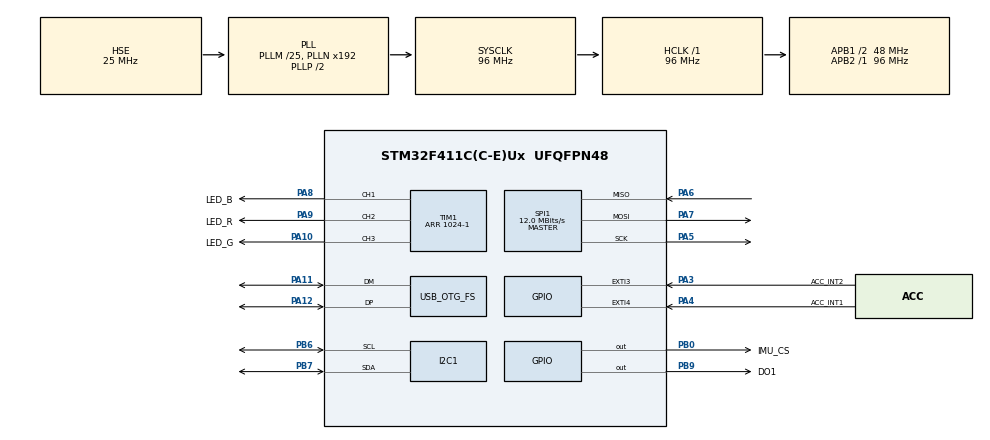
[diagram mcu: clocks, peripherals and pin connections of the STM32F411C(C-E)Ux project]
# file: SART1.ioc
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Dma.I2C1_TX.2.Direction=DMA_MEMORY_TO_PERIPH
Dma.I2C1_TX.2.FIFOMode=DMA_FIFOMODE_DISABLE
Dma.I2C1_TX.2.Instance=DMA1_Stream1
Dma.I2C1_TX.2.MemDataAlignment=DMA_MDATAALIGN_BYTE
Dma.I2C1_TX.2.MemInc=DMA_MINC_ENABLE
Dma.I2C1_TX.2.Mode=DMA_NORMAL
Dma.I2C1_TX.2.PeriphDataAlignment=DMA_PDATAALIGN_BYTE
Dma.I2C1_TX.2.PeriphInc=DMA_PINC_DISABLE
Dma.I2C1_TX.2.Priority=DMA_PRIORITY_MEDIUM
Dma.Request0=SPI1_RX
Dma.Request1=SPI1_TX
Dma.Request2=I2C1_TX
Dma.SPI1_RX.0.Direction=DMA_PERIPH_TO_MEMORY
Dma.SPI1_RX.0.FIFOMode=DMA_FIFOMODE_DISABLE
Dma.SPI1_RX.0.Instance=DMA2_Stream0
Dma.SPI1_RX.0.MemDataAlignment=DMA_MDATAALIGN_BYTE
Dma.SPI1_RX.0.MemInc=DMA_MINC_ENABLE
Dma.SPI1_RX.0.Mode=DMA_NORMAL
Dma.SPI1_RX.0.PeriphDataAlignment=DMA_PDATAALIGN_BYTE
Dma.SPI1_RX.0.PeriphInc=DMA_PINC_DISABLE
Dma.SPI1_RX.0.Priority=DMA_PRIORITY_VERY_HIGH
Dma.SPI1_TX.1.Direction=DMA_MEMORY_TO_PERIPH
Dma.SPI1_TX.1.FIFOMode=DMA_FIFOMODE_DISABLE
Dma.SPI1_TX.1.Instance=DMA2_Stream2
Dma.SPI1_TX.1.MemDataAlignment=DMA_MDATAALIGN_BYTE
Dma.SPI1_TX.1.MemInc=DMA_MINC_ENABLE
Dma.SPI1_TX.1.Mode=DMA_NORMAL
Dma.SPI1_TX.1.PeriphDataAlignment=DMA_PDATAALIGN_BYTE
Dma.SPI1_TX.1.PeriphInc=DMA_PINC_DISABLE
Dma.SPI1_TX.1.Priority=DMA_PRIORITY_VERY_HIGH
FREERTOS.BinarySemaphores01=spiBinarySem,Static,spiBinarySemControlBlock;usbBinarySem,Dynamic,NULL;fifoBinarySem,Static,fifoBinarySemControlBlock
FREERTOS.HEAP_NUMBER=3
FREERTOS.Mutexes01=SPI1Mutex,Dynamic,NULL
FREERTOS.Tasks01=MainTask,2,256,StartMainTask,Default,NULL,Dynamic,NULL,NULL;SignalElabTask,0,2048,StartSignalElabTask,Default,NULL,Dynamic,NULL,NULL;UsbTxTask,1,512,StartUsbTxTask,Default,NULL,Dynamic,NULL,NULL;UsbRxTask,-3,256,StartUsbRx,Default,NULL,Dynamic,NULL,NULL;ImuTask,3,128,StartImuTask,Default,NULL,Dynamic,NULL,NULL
FREERTOS.Timers01=BlinkTimer,BlinkTimerCallback,osTimerPeriodic,Default,NULL,Dynamic,NULL;DOTimer,DOTimerCallback,osTimerOnce,Default,NULL,Dynamic,NULL;SPIReadTimoutTimer,SPIReadTimoutTimerCallback,osTimerOnce,Default,NULL,Dynamic,NULL
FREERTOS.configENABLE_FPU=1
FREERTOS.configGENERATE_RUN_TIME_STATS=1
FREERTOS.configUSE_NEWLIB_REENTRANT=1
FREERTOS.configUSE_TIMERS=1
I2C1.I2C_Mode=I2C_Fast
Mcu.Family=STM32F4
Mcu.Name=STM32F411C(C-E)Ux
Mcu.Package=UFQFPN48
NVIC.DMA1_Stream1_IRQn=true\:5\:0\:false\:false\:true\:true\:false\:true\:true
NVIC.DMA2_Stream0_IRQn=true\:5\:0\:false\:false\:true\:true\:false\:true\:true
NVIC.DMA2_Stream2_IRQn=true\:5\:0\:false\:false\:true\:true\:false\:true\:true
NVIC.EXTI3_IRQn=true\:5\:0\:false\:false\:true\:true\:true\:true\:true
NVIC.EXTI4_IRQn=true\:5\:0\:false\:false\:true\:true\:true\:true\:true
NVIC.I2C1_ER_IRQn=true\:5\:0\:false\:false\:true\:true\:true\:true\:true
NVIC.I2C1_EV_IRQn=true\:5\:0\:false\:false\:true\:true\:true\:true\:true
NVIC.OTG_FS_IRQn=true\:5\:0\:false\:false\:true\:true\:false\:true\:true
NVIC.PriorityGroup=NVIC_PRIORITYGROUP_4
NVIC.SPI1_IRQn=true\:5\:0\:false\:false\:true\:true\:true\:true\:true
NVIC.TIM1_BRK_TIM9_IRQn=true\:5\:0\:false\:false\:true\:true\:true\:true\:true
NVIC.TIM1_TRG_COM_TIM11_IRQn=true\:5\:0\:false\:false\:true\:true\:true\:true\:true
NVIC.TIM1_UP_TIM10_IRQn=true\:15\:0\:false\:false\:true\:false\:false\:true\:true
NVIC.TimeBase=TIM1_UP_TIM10_IRQn
NVIC.TimeBaseIP=TIM10
PA10.GPIO_Label=LED_G
PA10.Signal=S_TIM1_CH3
PA11.Mode=Device_Only
PA11.Signal=USB_OTG_FS_DM
PA12.Mode=Device_Only
PA12.Signal=USB_OTG_FS_DP
PA13.Mode=Trace_Asynchronous_SW
PA13.Signal=SYS_JTMS-SWDIO
PA14.Mode=Trace_Asynchronous_SW
PA14.Signal=SYS_JTCK-SWCLK
PA3.GPIO_Label=ACC_INT2
PA3.GPIO_ModeDefaultEXTI=GPIO_MODE_IT_RISING
PA3.GPIO_PuPd=GPIO_NOPULL
PA3.Signal=GPXTI3
PA4.GPIO_Label=ACC_INT1
PA4.GPIO_PuPd=GPIO_NOPULL
PA4.Signal=GPXTI4
PA5.Mode=Full_Duplex_Master
PA5.Signal=SPI1_SCK
PA6.Mode=Full_Duplex_Master
PA6.Signal=SPI1_MISO
PA7.Mode=Full_Duplex_Master
PA7.Signal=SPI1_MOSI
PA8.GPIO_Label=LED_B
PA8.Signal=S_TIM1_CH1
PA9.GPIO_Label=LED_R
PA9.Signal=S_TIM1_CH2
PB0.GPIO_Label=IMU_CS
PB0.GPIO_PuPd=GPIO_PULLUP
PB0.GPIO_Speed=GPIO_SPEED_FREQ_VERY_HIGH
PB0.Signal=GPIO_Output
PB3.Mode=Trace_Asynchronous_SW
PB3.Signal=SYS_JTDO-SWO
PB6.GPIO_Pu=GPIO_PULLUP
PB6.Mode=I2C
PB6.Signal=I2C1_SCL
PB7.GPIO_Pu=GPIO_PULLUP
PB7.Mode=I2C
PB7.Signal=I2C1_SDA
PB9.GPIO_Label=DO1
PB9.GPIO_PuPd=GPIO_PULLDOWN
PB9.GPIO_Speed=GPIO_SPEED_FREQ_VERY_HIGH
PB9.Signal=GPIO_Output
PH0\ -\ OSC_IN.Mode=HSE-External-Oscillator
PH0\ -\ OSC_IN.Signal=RCC_OSC_IN
PH1\ -\ OSC_OUT.Mode=HSE-External-Oscillator
PH1\ -\ OSC_OUT.Signal=RCC_OSC_OUT
ProjectManager.HeapSize=0x800
ProjectManager.StackSize=0x800
ProjectManager.TargetToolchain=STM32CubeIDE
RCC.48MHZClocksFreq_Value=48000000
RCC.AHBFreq_Value=96000000
RCC.APB1CLKDivider=RCC_HCLK_DIV2
RCC.APB1Freq_Value=48000000
RCC.APB1TimFreq_Value=96000000
RCC.APB2Freq_Value=96000000
RCC.APB2TimFreq_Value=96000000
RCC.CortexFreq_Value=96000000
RCC.HCLKFreq_Value=96000000
RCC.HSE_VALUE=25000000
RCC.HSI_VALUE=16000000
RCC.LSE_VALUE=32768
RCC.PLLM=25
RCC.SYSCLKFreq_VALUE=96000000
RCC.SYSCLKSource=RCC_SYSCLKSOURCE_PLLCLK
RCC.VCOOutputFreq_Value=192000000
SH.S_TIM1_CH1.0=TIM1_CH1,PWM Generation1 CH1
SH.S_TIM1_CH2.0=TIM1_CH2,PWM Generation2 CH2
SH.S_TIM1_CH3.0=TIM1_CH3,PWM Generation3 CH3
SPI1.BaudRatePrescaler=SPI_BAUDRATEPRESCALER_8
SPI1.CalculateBaudRate=12.0 MBits/s
SPI1.DataSize=SPI_DATASIZE_8BIT
SPI1.Direction=SPI_DIRECTION_2LINES
SPI1.FirstBit=SPI_FIRSTBIT_MSB
SPI1.Mode=SPI_MODE_MASTER
SPI1.VirtualType=VM_MASTER
STMicroelectronics.X-CUBE-ALGOBUILD.1.2.1.LibraryCcDSPOoLibraryJjDSPOoLibrary=true
TIM1.AutoReloadPreload=TIM_AUTORELOAD_PRELOAD_ENABLE
TIM1.Channel-PWM\ Generation1\ CH1=TIM_CHANNEL_1
TIM1.Channel-PWM\ Generation2\ CH2=TIM_CHANNEL_2
TIM1.Channel-PWM\ Generation3\ CH3=TIM_CHANNEL_3
TIM1.Period=1024-1
TIM2.AutoReloadPreload=TIM_AUTORELOAD_PRELOAD_ENABLE
TIM2.Prescaler=9600
TIM3.AutoReloadPreload=TIM_AUTORELOAD_PRELOAD_ENABLE
TIM3.Period=9600
TIM3.Prescaler=10000
TIM5.Prescaler=96-1
USB_DEVICE.CLASS_NAME_FS=CDC
USB_DEVICE.VirtualMode=Cdc
USB_DEVICE.VirtualModeFS=Cdc_FS
USB_OTG_FS.VirtualMode=Device_Only
VP_FREERTOS_VS_CMSIS_V1.Mode=CMSIS_V1
VP_RTC_VS_RTC_Activate.Mode=RTC_Enabled
VP_STMicroelectronics.X-CUBE-ALGOBUILD_VS_DSPOoLibraryJjLibrary_1.2.1_1.2.1.Mode=DSPOoLibraryJjLibrary
VP_SYS_VS_tim10.Mode=TIM10
VP_TIM1_VS_ClockSourceINT.Mode=Internal
VP_TIM2_VS_ClockSourceINT.Mode=Internal
VP_TIM3_VS_ClockSourceINT.Mode=Internal
VP_TIM5_VS_ClockSourceINT.Mode=Internal
VP_USB_DEVICE_VS_USB_DEVICE_CDC_FS.Mode=CDC_FS
board=custom

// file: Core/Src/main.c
/* USER CODE BEGIN Header */
/**
  ******************************************************************************
  * @file           : main.c
  * @brief          : Main program body
  ******************************************************************************
  * @attention
  *
  * Copyright (c) 2022 STMicroelectronics.
  * All rights reserved.
  *
  * This software is licensed under terms that can be found in the LICENSE file
  * in the root directory of this software component.
  * If no LICENSE file comes with this software, it is provided AS-IS.
  *
  ******************************************************************************
  */
/* USER CODE END Header */
#include "main.h"
#include "cmsis_os.h"
#include "usb_device.h"

/* USER CODE BEGIN Includes */
#include "arm_math.h"
#include "math.h"
#include "string.h"
#include <stdbool.h>
#include "stream_buffer.h"
#include "common.h"
#include "DAC7571.h"
#include "IIM42652.h"
#include "RGB.h"
#include "RingBuffer.h"
#include "USBCommProtocol.h"
/* USER CODE END Includes */

 I2C_HandleTypeDef hi2c1;
DMA_HandleTypeDef hdma_i2c1_tx;

RTC_HandleTypeDef hrtc;

SPI_HandleTypeDef hspi1;
DMA_HandleTypeDef hdma_spi1_rx;
DMA_HandleTypeDef hdma_spi1_tx;

TIM_HandleTypeDef htim1;
TIM_HandleTypeDef htim2;
TIM_HandleTypeDef htim3;
TIM_HandleTypeDef htim5;

osThreadId MainTaskHandle;
osThreadId SignalElabTaskHandle;
osThreadId UsbTxTaskHandle;
osThreadId UsbRxTaskHandle;
osThreadId ImuTaskHandle;
osTimerId BlinkTimerHandle;
osTimerId DOTimerHandle;
osTimerId SPIReadTimoutTimerHandle;
osMutexId SPI1MutexHandle;
osSemaphoreId spiBinarySemHandle;
osStaticSemaphoreDef_t spiBinarySemControlBlock;
osSemaphoreId usbBinarySemHandle;
osSemaphoreId fifoBinarySemHandle;
osStaticSemaphoreDef_t fifoBinarySemControlBlock;
/* USER CODE BEGIN PV */
AC1_Config_t userConfig;

static StaticQueue_t usb_RX_QueueStruct;
static uint8_t usb_RX_QueueStorage[ APP_RX_DATA_SIZE * sizeof(uint8_t) ];
QueueHandle_t usb_RX_Queue;

static StaticQueue_t usb_TX_QueueStruct;
static uint8_t usb_TX_QueueStorage[ APP_TX_DATA_SIZE * sizeof(uint8_t) ];
QueueHandle_t usb_TX_Queue;

static StaticQueue_t IMUDataOutputQueueStruct;
static uint8_t IMUDataOutputQueueStorage[IMU_OUTPUT_DATA_QUEUE_SIZE * sizeof(IMU_Data_Buf_t)];
QueueHandle_t IMUDataOutputQueue;

char logBuf[APP_TX_DATA_SIZE];

#define SAMPLE 128U
#define FFT_SIZE SAMPLE/2

uint16_t freq = 1;
float32_t SignalTestBuffer[FFT_SIZE];
float32_t FFTOutBuffer[FFT_SIZE];
float32_t FFTMagOutBuffer[FFT_SIZE];
arm_rfft_fast_instance_f32 S;
arm_status status;

/* USER CODE END PV */

void SystemClock_Config(void);
static void MX_GPIO_Init(void);
static void MX_DMA_Init(void);
static void MX_SPI1_Init(void);
static void MX_I2C1_Init(void);
static void MX_TIM1_Init(void);
static void MX_TIM3_Init(void);
static void MX_TIM5_Init(void);
static void MX_RTC_Init(void);
static void MX_TIM2_Init(void);
void StartMainTask(void const * argument);
void StartSignalElabTask(void const * argument);
void StartUsbTxTask(void const * argument);
void StartUsbRx(void const * argument);
void StartImuTask(void const * argument);
void BlinkTimerCallback(void const * argument);
void DOTimerCallback(void const * argument);
void SPIReadTimoutTimerCallback(void const * argument);

/* USER CODE BEGIN PFP */
void initAll(void)
{
	#ifdef USB_DEBUG
  	  HAL_Delay(2000);
	#endif

  	osTimerStart(BlinkTimerHandle, BLINK_DELAY_MS/portTICK_PERIOD_MS);
  	arm_rfft_fast_init_f32(&S, IMU_FFT_SIZE);

	//--------------------------------------
	// -------- INITIALIZATIONS ------------
	//--------------------------------------
	//USB
  	OMDProtocolInit(&OMDCommProtocol);
	#ifdef USB_DEBUG
	  sprintf(logBuf, "\r\nStarting initialization of sensor and output devices...");
	  CDC_Transmit_FS((uint8_t *) logBuf, strlen(logBuf));
	#endif

	//IMU
	if (IIM42652_InitBusGuard(&IMU, spiBinarySemHandle) != HAL_OK)
	{
		AC1_StatusWord.IMUInit = false;
		AC1_StatusWord.IMUFault = true;
	}
	if (IIM42652_Init(&IMU, &hspi1, IMU_CS_GPIO_Port, IMU_CS_Pin, &userConfig) == HAL_OK)
	{
	  AC1_StatusWord.IMUInit = true; //IMU initialized
	  sprintf(logBuf, "\r\nIMU initialized...");
	  RGB_SetActColor(&RGB, RGB.rgbVIOLET, ENABLE);
	}
	else
	{
	  sprintf(logBuf, "\r\nIMU initialization failed");
	}
	#ifdef USB_DEBUG
		CDC_Transmit_FS((uint8_t *) logBuf, strlen(logBuf));
		HAL_Delay(500);
	#endif

	//DAC
	DAC7571_Init(&DAC, &hi2c1, DAC_ALIM_VOLTAGE);
	DAC7571_SetOutEnabling(&DAC, 1);
	DAC7571_SetOutVoltage(&DAC, DAC_ALIM_VOLTAGE);
	if (DAC7571_WriteDMA(&DAC) == 0)
	{
	  AC1_StatusWord.DACInit = true; //DAC initialized
	  sprintf(logBuf, "\r\nDAC initialized...");
	  RGB_SetActColor(&RGB, RGB.rgbYELLOW, ENABLE);
	}
	else
	{
	  sprintf(logBuf, "\r\nDAC initialization failed");
	}

	#ifdef USB_DEBUG
		CDC_Transmit_FS((uint8_t *) logBuf, strlen(logBuf));
		HAL_Delay(500);
	#endif

	if (AC1_StatusWord.IMUInit == 1 && AC1_StatusWord.DACInit == 1)
	{
		//All devices have been initialized
		RGB_SetActColor(&RGB, RGB.rgbCYAN, ENABLE);
		HAL_GPIO_WritePin(DO1_GPIO_Port, DO1_Pin, GPIO_PIN_SET);
		AC1_StatusWord.Booted = 1;
		sprintf(logBuf, "\r\nAC1 Initializations completed!\r\n Starting FreeRTOS...");
		#ifdef USB_DEBUG
			CDC_Transmit_FS((uint8_t *) logBuf, strlen(logBuf));
		#endif
	}
	else
	{
		//Device's initialization errors occurred. AC1 will be restarted.
		RGB_SetActColor(&RGB, RGB.rgbRED, ENABLE);
		HAL_GPIO_WritePin(DO1_GPIO_Port, DO1_Pin, GPIO_PIN_RESET);
		sprintf(logBuf, "\r\nAC1 Initializations procedure failed. Restarting...");
		CDC_Transmit_FS((uint8_t *) logBuf, strlen(logBuf));
		HAL_Delay(2000);
		__NVIC_SystemReset();
	}

	/* Start signals analysis */
	AC1_StatusWord.IMUAnalysisON = 1;

	/* Disable USB data output */
	IMU.TelemetryON = 0;
}
/* USER CODE END PFP */

int main(void)
{
  /* USER CODE BEGIN 1 */
	_LOAD_AC1_SETTINGS(&userConfig); //TODO: work only at the top of application: why?!?!
  /* USER CODE END 1 */

  /* MCU Configuration--------------------------------------------------------*/

  /* Reset of all peripherals, Initializes the Flash interface and the Systick. */
  HAL_Init();

  /* Configure the system clock */
  SystemClock_Config();

  /* Initialize all configured peripherals */
  MX_GPIO_Init();
  MX_DMA_Init();
  MX_SPI1_Init();
  MX_I2C1_Init();
  MX_TIM1_Init();
  MX_TIM3_Init();
  MX_TIM5_Init();
  MX_RTC_Init();
  MX_TIM2_Init();
  /* USER CODE BEGIN 2 */
  AC1_StatusWord.Power = true; //MCU Powered

  //Power LED ON
  RGB_Init(&RGB, &htim1);
  RGB_SetActColor(&RGB, RGB.rgbGREEN, ENABLE);
  HAL_Delay(500);

  //Start used timer
  HAL_TIM_Base_Start_IT(&htim2);
  HAL_TIM_Base_Start_IT(&htim3);
  HAL_TIM_Base_Start_IT(&htim5);

  /* USER CODE END 2 */

  /* Create the mutex(es) */
  /* definition and creation of SPI1Mutex */
  osMutexDef(SPI1Mutex);
  SPI1MutexHandle = osMutexCreate(osMutex(SPI1Mutex));

  /* Create the semaphores(s) */
  /* definition and creation of spiBinarySem */
  osSemaphoreStaticDef(spiBinarySem, &spiBinarySemControlBlock);
  spiBinarySemHandle = osSemaphoreCreate(osSemaphore(spiBinarySem), 1);

  /* definition and creation of usbBinarySem */
  osSemaphoreDef(usbBinarySem);
  usbBinarySemHandle = osSemaphoreCreate(osSemaphore(usbBinarySem), 1);

  /* definition and creation of fifoBinarySem */
  osSemaphoreStaticDef(fifoBinarySem, &fifoBinarySemControlBlock);
  fifoBinarySemHandle = osSemaphoreCreate(osSemaphore(fifoBinarySem), 1);

  /* Create the timer(s) */
  /* definition and creation of BlinkTimer */
  osTimerDef(BlinkTimer, BlinkTimerCallback);
  BlinkTimerHandle = osTimerCreate(osTimer(BlinkTimer), osTimerPeriodic, NULL);

  /* definition and creation of DOTimer */
  osTimerDef(DOTimer, DOTimerCallback);
  DOTimerHandle = osTimerCreate(osTimer(DOTimer), osTimerOnce, NULL);

  /* definition and creation of SPIReadTimoutTimer */
  osTimerDef(SPIReadTimoutTimer, SPIReadTimoutTimerCallback);
  SPIReadTimoutTimerHandle = osTimerCreate(osTimer(SPIReadTimoutTimer), osTimerOnce, NULL);

  /* USER CODE BEGIN RTOS_QUEUES */
  /* add queues, ... */
  usb_RX_Queue = xQueueCreateStatic(APP_RX_DATA_SIZE, sizeof(uint8_t), usb_RX_QueueStorage, &usb_RX_QueueStruct);
  usb_TX_Queue = xQueueCreateStatic(APP_TX_DATA_SIZE, sizeof(uint8_t), usb_TX_QueueStorage, &usb_TX_QueueStruct);
  IMUDataOutputQueue = xQueueCreateStatic(IMU_OUTPUT_DATA_QUEUE_SIZE, sizeof(IMU_Data_Buf_t), IMUDataOutputQueueStorage, &IMUDataOutputQueueStruct);
  /* USER CODE END RTOS_QUEUES */

  /* Create the thread(s) */
  /* definition and creation of MainTask */
  osThreadDef(MainTask, StartMainTask, osPriorityHigh, 0, 256);
  MainTaskHandle = osThreadCreate(osThread(MainTask), NULL);

  /* definition and creation of SignalElabTask */
  osThreadDef(SignalElabTask, StartSignalElabTask, osPriorityNormal, 0, 2048);
  SignalElabTaskHandle = osThreadCreate(osThread(SignalElabTask), NULL);

  /* definition and creation of UsbTxTask */
  osThreadDef(UsbTxTask, StartUsbTxTask, osPriorityAboveNormal, 0, 512);
  UsbTxTaskHandle = osThreadCreate(osThread(UsbTxTask), NULL);

  /* definition and creation of UsbRxTask */
  osThreadDef(UsbRxTask, StartUsbRx, osPriorityIdle, 0, 256);
  UsbRxTaskHandle = osThreadCreate(osThread(UsbRxTask), NULL);

  /* definition and creation of ImuTask */
  osThreadDef(ImuTask, StartImuTask, osPriorityRealtime, 0, 128);
  ImuTaskHandle = osThreadCreate(osThread(ImuTask), NULL);

  /* Start scheduler */
  osKernelStart();

  /* We should never get here as control is now taken by the scheduler */
  /* Infinite loop */
  while (1)
  {

  }
}

void SystemClock_Config(void)
{
  RCC_OscInitTypeDef RCC_OscInitStruct = {0};
  RCC_ClkInitTypeDef RCC_ClkInitStruct = {0};

  /** Configure the main internal regulator output voltage
  */
  __HAL_RCC_PWR_CLK_ENABLE();
  __HAL_PWR_VOLTAGESCALING_CONFIG(PWR_REGULATOR_VOLTAGE_SCALE1);

  /** Initializes the RCC Oscillators according to the specified parameters
  * in the RCC_OscInitTypeDef structure.
  */
  RCC_OscInitStruct.OscillatorType = RCC_OSCILLATORTYPE_LSI|RCC_OSCILLATORTYPE_HSE;
  RCC_OscInitStruct.HSEState = RCC_HSE_ON;
  RCC_OscInitStruct.LSIState = RCC_LSI_ON;
  RCC_OscInitStruct.PLL.PLLState = RCC_PLL_ON;
  RCC_OscInitStruct.PLL.PLLSource = RCC_PLLSOURCE_HSE;
  RCC_OscInitStruct.PLL.PLLM = 25;
  RCC_OscInitStruct.PLL.PLLN = 192;
  RCC_OscInitStruct.PLL.PLLP = RCC_PLLP_DIV2;
  RCC_OscInitStruct.PLL.PLLQ = 4;
  if (HAL_RCC_OscConfig(&RCC_OscInitStruct) != HAL_OK)
  {
    Error_Handler();
  }

  /** Initializes the CPU, AHB and APB buses clocks
  */
  RCC_ClkInitStruct.ClockType = RCC_CLOCKTYPE_HCLK|RCC_CLOCKTYPE_SYSCLK
                              |RCC_CLOCKTYPE_PCLK1|RCC_CLOCKTYPE_PCLK2;
  RCC_ClkInitStruct.SYSCLKSource = RCC_SYSCLKSOURCE_PLLCLK;
  RCC_ClkInitStruct.AHBCLKDivider = RCC_SYSCLK_DIV1;
  RCC_ClkInitStruct.APB1CLKDivider = RCC_HCLK_DIV2;
  RCC_ClkInitStruct.APB2CLKDivider = RCC_HCLK_DIV1;

  if (HAL_RCC_ClockConfig(&RCC_ClkInitStruct, FLASH_LATENCY_3) != HAL_OK)
  {
    Error_Handler();
  }
}

static void MX_I2C1_Init(void)
{

  hi2c1.Instance = I2C1;
  hi2c1.Init.ClockSpeed = 400000;
  hi2c1.Init.DutyCycle = I2C_DUTYCYCLE_2;
  hi2c1.Init.OwnAddress1 = 0;
  hi2c1.Init.AddressingMode = I2C_ADDRESSINGMODE_7BIT;
  hi2c1.Init.DualAddressMode = I2C_DUALADDRESS_DISABLE;
  hi2c1.Init.OwnAddress2 = 0;
  hi2c1.Init.GeneralCallMode = I2C_GENERALCALL_DISABLE;
  hi2c1.Init.NoStretchMode = I2C_NOSTRETCH_DISABLE;
  if (HAL_I2C_Init(&hi2c1) != HAL_OK)
  {
    Error_Handler();
  }

}

static void MX_RTC_Init(void)
{

  /** Initialize RTC Only
  */
  hrtc.Instance = RTC;
  hrtc.Init.HourFormat = RTC_HOURFORMAT_24;
  hrtc.Init.AsynchPrediv = 127;
  hrtc.Init.SynchPrediv = 255;
  hrtc.Init.OutPut = RTC_OUTPUT_DISABLE;
  hrtc.Init.OutPutPolarity = RTC_OUTPUT_POLARITY_HIGH;
  hrtc.Init.OutPutType = RTC_OUTPUT_TYPE_OPENDRAIN;
  if (HAL_RTC_Init(&hrtc) != HAL_OK)
  {
    Error_Handler();
  }

}

static void MX_SPI1_Init(void)
{

  /* SPI1 parameter configuration*/
  hspi1.Instance = SPI1;
  hspi1.Init.Mode = SPI_MODE_MASTER;
  hspi1.Init.Direction = SPI_DIRECTION_2LINES;
  hspi1.Init.DataSize = SPI_DATASIZE_8BIT;
  hspi1.Init.CLKPolarity = SPI_POLARITY_LOW;
  hspi1.Init.CLKPhase = SPI_PHASE_1EDGE;
  hspi1.Init.NSS = SPI_NSS_SOFT;
  hspi1.Init.BaudRatePrescaler = SPI_BAUDRATEPRESCALER_8;
  hspi1.Init.FirstBit = SPI_FIRSTBIT_MSB;
  hspi1.Init.TIMode = SPI_TIMODE_DISABLE;
  hspi1.Init.CRCCalculation = SPI_CRCCALCULATION_DISABLE;
  hspi1.Init.CRCPolynomial = 10;
  if (HAL_SPI_Init(&hspi1) != HAL_OK)
  {
    Error_Handler();
  }

}

static void MX_TIM1_Init(void)
{

  TIM_ClockConfigTypeDef sClockSourceConfig = {0};
  TIM_MasterConfigTypeDef sMasterConfig = {0};
  TIM_OC_InitTypeDef sConfigOC = {0};
  TIM_BreakDeadTimeConfigTypeDef sBreakDeadTimeConfig = {0};

  htim1.Instance = TIM1;
  htim1.Init.Prescaler = 0;
  htim1.Init.CounterMode = TIM_COUNTERMODE_UP;
  htim1.Init.Period = 1024-1;
  htim1.Init.ClockDivision = TIM_CLOCKDIVISION_DIV1;
  htim1.Init.RepetitionCounter = 0;
  htim1.Init.AutoReloadPreload = TIM_AUTORELOAD_PRELOAD_ENABLE;
  if (HAL_TIM_Base_Init(&htim1) != HAL_OK)
  {
    Error_Handler();
  }
  sClockSourceConfig.ClockSource = TIM_CLOCKSOURCE_INTERNAL;
  if (HAL_TIM_ConfigClockSource(&htim1, &sClockSourceConfig) != HAL_OK)
  {
    Error_Handler();
  }
  if (HAL_TIM_PWM_Init(&htim1) != HAL_OK)
  {
    Error_Handler();
  }
  sMasterConfig.MasterOutputTrigger = TIM_TRGO_RESET;
  sMasterConfig.MasterSlaveMode = TIM_MASTERSLAVEMODE_DISABLE;
  if (HAL_TIMEx_MasterConfigSynchronization(&htim1, &sMasterConfig) != HAL_OK)
  {
    Error_Handler();
  }
  sConfigOC.OCMode = TIM_OCMODE_PWM1;
  sConfigOC.Pulse = 0;
  sConfigOC.OCPolarity = TIM_OCPOLARITY_HIGH;
  sConfigOC.OCNPolarity = TIM_OCNPOLARITY_HIGH;
  sConfigOC.OCFastMode = TIM_OCFAST_DISABLE;
  sConfigOC.OCIdleState = TIM_OCIDLESTATE_RESET;
  sConfigOC.OCNIdleState = TIM_OCNIDLESTATE_RESET;
  if (HAL_TIM_PWM_ConfigChannel(&htim1, &sConfigOC, TIM_CHANNEL_1) != HAL_OK)
  {
    Error_Handler();
  }
  if (HAL_TIM_PWM_ConfigChannel(&htim1, &sConfigOC, TIM_CHANNEL_2) != HAL_OK)
  {
    Error_Handler();
  }
  if (HAL_TIM_PWM_ConfigChannel(&htim1, &sConfigOC, TIM_CHANNEL_3) != HAL_OK)
  {
    Error_Handler();
  }
  sBreakDeadTimeConfig.OffStateRunMode = TIM_OSSR_DISABLE;
  sBreakDeadTimeConfig.OffStateIDLEMode = TIM_OSSI_DISABLE;
  sBreakDeadTimeConfig.LockLevel = TIM_LOCKLEVEL_OFF;
  sBreakDeadTimeConfig.DeadTime = 0;
  sBreakDeadTimeConfig.BreakState = TIM_BREAK_DISABLE;
  sBreakDeadTimeConfig.BreakPolarity = TIM_BREAKPOLARITY_HIGH;
  sBreakDeadTimeConfig.AutomaticOutput = TIM_AUTOMATICOUTPUT_DISABLE;
  if (HAL_TIMEx_ConfigBreakDeadTime(&htim1, &sBreakDeadTimeConfig) != HAL_OK)
  {
    Error_Handler();
  }
  HAL_TIM_MspPostInit(&htim1);

}

static void MX_TIM2_Init(void)
{

  TIM_ClockConfigTypeDef sClockSourceConfig = {0};
  TIM_MasterConfigTypeDef sMasterConfig = {0};

  htim2.Instance = TIM2;
  htim2.Init.Prescaler = 9600;
  htim2.Init.CounterMode = TIM_COUNTERMODE_UP;
  htim2.Init.Period = 4294967295;
  htim2.Init.ClockDivision = TIM_CLOCKDIVISION_DIV1;
  htim2.Init.AutoReloadPreload = TIM_AUTORELOAD_PRELOAD_ENABLE;
  if (HAL_TIM_Base_Init(&htim2) != HAL_OK)
  {
    Error_Handler();
  }
  sClockSourceConfig.ClockSource = TIM_CLOCKSOURCE_INTERNAL;
  if (HAL_TIM_ConfigClockSource(&htim2, &sClockSourceConfig) != HAL_OK)
  {
    Error_Handler();
  }
  sMasterConfig.MasterOutputTrigger = TIM_TRGO_RESET;
  sMasterConfig.MasterSlaveMode = TIM_MASTERSLAVEMODE_DISABLE;
  if (HAL_TIMEx_MasterConfigSynchronization(&htim2, &sMasterConfig) != HAL_OK)
  {
    Error_Handler();
  }

}

static void MX_TIM3_Init(void)
{

  TIM_ClockConfigTypeDef sClockSourceConfig = {0};
  TIM_MasterConfigTypeDef sMasterConfig = {0};

  htim3.Instance = TIM3;
  htim3.Init.Prescaler = 10000;
  htim3.Init.CounterMode = TIM_COUNTERMODE_UP;
  htim3.Init.Period = 9600;
  htim3.Init.ClockDivision = TIM_CLOCKDIVISION_DIV1;
  htim3.Init.AutoReloadPreload = TIM_AUTORELOAD_PRELOAD_ENABLE;
  if (HAL_TIM_Base_Init(&htim3) != HAL_OK)
  {
    Error_Handler();
  }
  sClockSourceConfig.ClockSource = TIM_CLOCKSOURCE_INTERNAL;
  if (HAL_TIM_ConfigClockSource(&htim3, &sClockSourceConfig) != HAL_OK)
  {
    Error_Handler();
  }
  sMasterConfig.MasterOutputTrigger = TIM_TRGO_RESET;
  sMasterConfig.MasterSlaveMode = TIM_MASTERSLAVEMODE_DISABLE;
  if (HAL_TIMEx_MasterConfigSynchronization(&htim3, &sMasterConfig) != HAL_OK)
  {
    Error_Handler();
  }

}

static void MX_TIM5_Init(void)
{

  TIM_ClockConfigTypeDef sClockSourceConfig = {0};
  TIM_MasterConfigTypeDef sMasterConfig = {0};

  htim5.Instance = TIM5;
  htim5.Init.Prescaler = 96-1;
  htim5.Init.CounterMode = TIM_COUNTERMODE_UP;
  htim5.Init.Period = 4294967295;
  htim5.Init.ClockDivision = TIM_CLOCKDIVISION_DIV1;
  htim5.Init.AutoReloadPreload = TIM_AUTORELOAD_PRELOAD_DISABLE;
  if (HAL_TIM_Base_Init(&htim5) != HAL_OK)
  {
    Error_Handler();
  }
  sClockSourceConfig.ClockSource = TIM_CLOCKSOURCE_INTERNAL;
  if (HAL_TIM_ConfigClockSource(&htim5, &sClockSourceConfig) != HAL_OK)
  {
    Error_Handler();
  }
  sMasterConfig.MasterOutputTrigger = TIM_TRGO_RESET;
  sMasterConfig.MasterSlaveMode = TIM_MASTERSLAVEMODE_DISABLE;
  if (HAL_TIMEx_MasterConfigSynchronization(&htim5, &sMasterConfig) != HAL_OK)
  {
    Error_Handler();
  }

}

static void MX_DMA_Init(void)
{

  /* DMA controller clock enable */
  __HAL_RCC_DMA2_CLK_ENABLE();
  __HAL_RCC_DMA1_CLK_ENABLE();

  /* DMA interrupt init */
  /* DMA1_Stream1_IRQn interrupt configuration */
  HAL_NVIC_SetPriority(DMA1_Stream1_IRQn, 5, 0);
  HAL_NVIC_EnableIRQ(DMA1_Stream1_IRQn);
  /* DMA2_Stream0_IRQn interrupt configuration */
  HAL_NVIC_SetPriority(DMA2_Stream0_IRQn, 5, 0);
  HAL_NVIC_EnableIRQ(DMA2_Stream0_IRQn);
  /* DMA2_Stream2_IRQn interrupt configuration */
  HAL_NVIC_SetPriority(DMA2_Stream2_IRQn, 5, 0);
  HAL_NVIC_EnableIRQ(DMA2_Stream2_IRQn);

}

static void MX_GPIO_Init(void)
{
  GPIO_InitTypeDef GPIO_InitStruct = {0};

  /* GPIO Ports Clock Enable */
  __HAL_RCC_GPIOH_CLK_ENABLE();
  __HAL_RCC_GPIOA_CLK_ENABLE();
  __HAL_RCC_GPIOB_CLK_ENABLE();

  /*Configure GPIO pin Output Level */
  HAL_GPIO_WritePin(GPIOB, IMU_CS_Pin|DO1_Pin, GPIO_PIN_RESET);

  /*Configure GPIO pins : ACC_INT2_Pin ACC_INT1_Pin */
  GPIO_InitStruct.Pin = ACC_INT2_Pin|ACC_INT1_Pin;
  GPIO_InitStruct.Mode = GPIO_MODE_IT_RISING;
  GPIO_InitStruct.Pull = GPIO_NOPULL;
  HAL_GPIO_Init(GPIOA, &GPIO_InitStruct);

  /*Configure GPIO pin : IMU_CS_Pin */
  GPIO_InitStruct.Pin = IMU_CS_Pin;
  GPIO_InitStruct.Mode = GPIO_MODE_OUTPUT_PP;
  GPIO_InitStruct.Pull = GPIO_PULLUP;
  GPIO_InitStruct.Speed = GPIO_SPEED_FREQ_VERY_HIGH;
  HAL_GPIO_Init(IMU_CS_GPIO_Port, &GPIO_InitStruct);

  /*Configure GPIO pin : DO1_Pin */
  GPIO_InitStruct.Pin = DO1_Pin;
  GPIO_InitStruct.Mode = GPIO_MODE_OUTPUT_PP;
  GPIO_InitStruct.Pull = GPIO_PULLDOWN;
  GPIO_InitStruct.Speed = GPIO_SPEED_FREQ_VERY_HIGH;
  HAL_GPIO_Init(DO1_GPIO_Port, &GPIO_InitStruct);

  /* EXTI interrupt init*/
  HAL_NVIC_SetPriority(EXTI3_IRQn, 5, 0);
  HAL_NVIC_EnableIRQ(EXTI3_IRQn);

  HAL_NVIC_SetPriority(EXTI4_IRQn, 5, 0);
  HAL_NVIC_EnableIRQ(EXTI4_IRQn);

}

/* USER CODE BEGIN 4 */
unsigned long getRunTimeCounterValue(void)
{
	return TIM2->CNT;
}

void HAL_SPI_TxRxCpltCallback(SPI_HandleTypeDef *hspi)
{
	BaseType_t xHigherPriorityTaskWoken = pdFALSE;

	if (hspi->Instance == SPI1)
	{
		IIM42652_GetFIFOData_DMA_Complete(&IMU);
//		__IMU_INT1_ON();
//		xTaskNotifyFromISR(ImuTaskHandle, AC1_Notify_NewDataAvaiable, eSetBits, &xHigherPriorityTaskWoken);
		xTaskNotifyFromISR(SignalElabTaskHandle, AC1_Notify_NewDataAvaiable, eSetBits, &xHigherPriorityTaskWoken);
		portYIELD_FROM_ISR(xHigherPriorityTaskWoken);
	}
}
void HAL_I2C_MasterTxCpltCallback(I2C_HandleTypeDef *hi2c)
{
	if (hi2c->Instance == I2C1)
	{
		DAC7571_WriteDMA_Complete(&DAC);
		DAC7571_TestOutput(&DAC);
	}
}
void HAL_GPIO_EXTI_Callback(uint16_t GPIO_Pin)
{
	BaseType_t xHigherPriorityTaskWoken = pdFALSE;

	if (GPIO_Pin == ACC_INT1_Pin)
	{
		if (AC1_StatusWord.IMUAnalysisON == 1 && IMU.m_FIFO_reading == 0)
		{
//			__IMU_INT1_OFF();
			IIM42652_GetFIFOData_DMA(&IMU);
			osTimerStart(SPIReadTimoutTimerHandle, SPI_READ_TIMEOUT_MS);
		}
	}
	if (GPIO_Pin == ACC_INT2_Pin)
	{
		if (AC1_StatusWord.IMUAnalysisON == 1)
		{
			IMU.m_INT2State = 1;
			HAL_GPIO_WritePin(DO1_GPIO_Port, DO1_Pin, GPIO_PIN_SET);
			osTimerStart(DOTimerHandle, DO_PULSE_DUR_MS/portTICK_PERIOD_MS);
		}
	}
}
/* USER CODE END 4 */

void StartMainTask(void const * argument)
{
  /* init code for USB_DEVICE */
  MX_USB_DEVICE_Init();
  /* USER CODE BEGIN 5 */
  BaseType_t xResult;
  uint32_t ulNotifiedValue;
  vc_vector* sendData = vc_vector_create(3, sizeof(uint8_t), NULL);
  uint8_t tempVal = 0;

  if (!AC1_StatusWord.Booted)
  {
	  /* Semaphores has been created "taken" so we need to "give" them
	   * to be able to access to guarded bus used on the next initialization function calls
	   */
	  osSemaphoreRelease(spiBinarySemHandle);
	  osSemaphoreRelease(usbBinarySemHandle);
	  osSemaphoreRelease(fifoBinarySemHandle);
	  initAll();

	  IIM42652_GetFIFOData_DMA(&IMU);
	  osTimerStart(SPIReadTimoutTimerHandle, SPI_READ_TIMEOUT_MS);
  }
  /* Infinite loop */
  for(;;)
  {
	  xResult = xTaskNotifyWait( pdFALSE,		/* Don't clear bits on entry. */
			  ULONG_MAX,			/* Clear all bits on exit. */
			  &ulNotifiedValue, 	/* Stores the notified value. */
			  portMAX_DELAY );

	  if( xResult == pdPASS )
	  {
		  if(BitCheckW(ulNotifiedValue, AC1_Notify_AnalysisON_Bit) == 1)
		  {
			  RGB_SetActColor(&RGB, RGB.rgbCYAN, ENABLE);
			  __IMU_TURN_ON(&IMU);
			  AC1_StatusWord.IMUAnalysisON = true;

			  //Send ack to configurator
			  tempVal = commandSetConfigMode;
			  vc_vector_push_back(sendData, &tempVal);
			  ackCommand(&OMDCommProtocol, sendData, OMD_COMM_ACK_OK);
		  }
		  if(BitCheckW(ulNotifiedValue, AC1_Notify_AnalysisOFF_Bit) == 1)
		  {
			  RGB_SetActColor(&RGB, RGB.rgbYELLOW, ENABLE);
			  AC1_StatusWord.IMUAnalysisON = false;
			  __IMU_TURN_OFF(&IMU);

			  //Send ack to configurator
			  tempVal = commandSetConfigMode;
			  vc_vector_push_back(sendData, &tempVal);
			  ackCommand(&OMDCommProtocol, sendData, OMD_COMM_ACK_OK);
		  }
		  if(BitCheckW(ulNotifiedValue, AC1_Notify_SaveConfig_Bit) == 1)
		  {
			  if (_SAVE_AC1_SETTINGS(userConfig) == HAL_OK)
			  {
				  //Send ack to configurator
				  tempVal = commandSaveUserData;
				  vc_vector_push_back(sendData, &tempVal);
				  ackCommand(&OMDCommProtocol, sendData, OMD_COMM_ACK_OK);
			  }
		  }
	  }
    osDelay(1);
  }
  /* USER CODE END 5 */
}

void StartSignalElabTask(void const * argument)
{
  /* USER CODE BEGIN StartSignalElabTask */
  /* Infinite loop */
  for(;;)
  {
	  BaseType_t xResult;
	  uint32_t ulNotifiedValue;
	  static uint8_t xFirst = 0;
	  static float32_t ImuFFTOut[6][IMU_FFT_SIZE];
	  static float32_t ImuFFTMagOut[6][IMU_FFT_SIZE];

	  xResult = xTaskNotifyWait( pdFALSE,    /* Don't clear bits on entry. */
			  ULONG_MAX,        /* Clear all bits on exit. */
			  &ulNotifiedValue, /* Stores the notified value. */
			  portMAX_DELAY );

	  if( xResult == pdPASS )
	  {
		  if (BitCheckW(ulNotifiedValue, AC1_Notify_NewDataAvaiable_Bit) == 1 )
		  {
			  ;
		  }
		  if (RINGBUFFER_FULL(&AccXBuffer))
		  {
			  arm_rfft_fast_f32(&S, (float32_t *)AccXBuffer.buffer, (float32_t *)ImuFFTOut[0], 0);
			  arm_cmplx_mag_f32(ImuFFTOut[0], ImuFFTMagOut[0], IMU_FFT_SIZE);
			  RINGBUFFER_CLEAR(&AccXBuffer);
		  }
		  if (RINGBUFFER_FULL(&AccYBuffer))
		  {
			  arm_rfft_fast_f32(&S, (float32_t *)AccYBuffer.buffer, (float32_t *)ImuFFTOut[1], 0);
			  arm_cmplx_mag_f32(ImuFFTOut[1], ImuFFTMagOut[1], IMU_FFT_SIZE);
			  RINGBUFFER_CLEAR(&AccYBuffer);
		  }
		  if (RINGBUFFER_FULL(&AccZBuffer))
		  {
			  arm_rfft_fast_f32(&S, (float32_t *)AccZBuffer.buffer, (float32_t *)ImuFFTOut[2], 0);
			  arm_cmplx_mag_f32(ImuFFTOut[2], ImuFFTMagOut[2], IMU_FFT_SIZE);
			  RINGBUFFER_CLEAR(&AccZBuffer);
		  }
		  if (RINGBUFFER_FULL(&GyroXBuffer))
		  {
			  arm_rfft_fast_f32(&S, (float32_t *)GyroXBuffer.buffer, (float32_t *)ImuFFTOut[3], 0);
			  arm_cmplx_mag_f32(ImuFFTOut[3], ImuFFTMagOut[3], IMU_FFT_SIZE);
			  RINGBUFFER_CLEAR(&GyroXBuffer);
		  }
		  if (RINGBUFFER_FULL(&GyroYBuffer))
		  {
			  arm_rfft_fast_f32(&S, (float32_t *)GyroYBuffer.buffer, (float32_t *)ImuFFTOut[4], 0);
			  arm_cmplx_mag_f32(ImuFFTOut[4], ImuFFTMagOut[4], IMU_FFT_SIZE);
			  RINGBUFFER_CLEAR(&GyroYBuffer);
		  }
		  if (RINGBUFFER_FULL(&GyroZBuffer))
		  {
			  arm_rfft_fast_f32(&S, (float32_t *)GyroZBuffer.buffer, (float32_t *)ImuFFTOut[5], 0);
			  arm_cmplx_mag_f32(ImuFFTOut[5], ImuFFTMagOut[5], IMU_FFT_SIZE);
			  RINGBUFFER_CLEAR(&GyroZBuffer);
		  }
		  if ((ImuFFTMagOut[0][5] > 20) | (ImuFFTMagOut[1][5] > 20) | (ImuFFTMagOut[3][5] > 20))
		  {
//			  xTaskGenericNotify(MainTaskHandle, AC1_Notify_INT2Event, eSetBits, NULL);
		  }
	  }
    osDelay(1);
  }
  /* USER CODE END StartSignalElabTask */
}

void StartUsbTxTask(void const * argument)
{
  /* USER CODE BEGIN StartUsbTxTask */
	vc_vector* transmitData = vc_vector_create(2, sizeof(uint8_t), NULL);

  /* Infinite loop */
  for(;;)
  {
	  BaseType_t xResult;
	  uint32_t ulNotifiedValue;
	  IMU_Data_Buf_t imuPacketBuf;
	  size_t encBytes = 0;
	  uint8_t tempByte = 0;

	  xResult = xTaskNotifyWait( pdFALSE,    /* Don't clear bits on entry. */
			  ULONG_MAX,        /* Clear all bits on exit. */
			  &ulNotifiedValue, /* Stores the notified value. */
			  portMAX_DELAY );

	  if( xResult == pdPASS )
	  {
		  while(xQueueReceive(IMUDataOutputQueue, imuPacketBuf.buffer, 0) == pdPASS )
		  {
			  uint8_t imuEncodedBuffer[sizeof(IMU_Data_Buf_t) + COMMAND_DATA_SIZE + ENCODEING_EXTRA_SIZE];
			  memset(imuEncodedBuffer, 0x00, sizeof(imuEncodedBuffer));

			  encBytes = imuUsbPacketsCreator(&IMU, &imuPacketBuf, sizeof(imuPacketBuf.buffer),
					  imuEncodedBuffer, sizeof(imuEncodedBuffer));

			  if (encBytes>0)
			  {
//				  CDC_Transmit_FS(imuEncodedBuffer, encBytes);
				  _USB_SEND_OPT(imuEncodedBuffer, encBytes);
			  }
		  }

		  while(xQueueReceive(usb_TX_Queue, &tempByte, 0) == pdPASS )
		  {
			  vc_vector_push_back(transmitData, &tempByte);
		  }
		  if (!vc_vector_empty(transmitData))
		  {
			  CDC_Transmit_FS(vc_vector_begin(transmitData), vc_vector_count(transmitData));
//			  _USB_SEND_OPT(vc_vector_begin(transmitData), vc_vector_count(transmitData));
			  vc_vector_clear(transmitData);
		  }
	  }
    osDelay(1);
  }
  /* USER CODE END StartUsbTxTask */
}

void StartUsbRx(void const * argument)
{
  /* USER CODE BEGIN StartUsbRx */
	uint8_t tempByte;
	uint8_t newReceivedData = 0;

	vc_vector* receivedData = vc_vector_create(3, sizeof(uint8_t), NULL);
	/* Infinite loop */
	for(;;)
	{
		BaseType_t xResult;
		uint32_t ulNotifiedValue;

//		xResult = xTaskNotifyWait( pdFALSE,    /* Don't clear bits on entry. */
//				ULONG_MAX,        /* Clear all bits on exit. */
//				&ulNotifiedValue, /* Stores the notified value. */
//				portMAX_DELAY );
//
//		if( xResult == pdPASS )
//		{
//			while(xQueueReceive(usb_RX_Queue, &tempByte, 0) == pdPASS )
//			{
//				vc_vector_push_back(receivedData, &tempByte);
//				tempByte = 1;
//				newReceivedData = 1;
//			}
//			if (!vc_vector_empty(receivedData) && (newReceivedData == 1))
//			{
//				newReceivedData = 0;
//				GiveRxData(&OMDCommProtocol, receivedData);
//			}
//		}

		while(xQueueReceive(usb_RX_Queue, &tempByte, portMAX_DELAY) == pdPASS )
		{
			vc_vector_push_back(receivedData, &tempByte);
			GiveRxData(&OMDCommProtocol, receivedData);
		}
		osDelay(1);
	}
  /* USER CODE END StartUsbRx */
}

void StartImuTask(void const * argument)
{
  /* USER CODE BEGIN StartImuTask */
  /* Infinite loop */
  for(;;)
  {
	  BaseType_t xResult;
	  uint32_t ulNotifiedValue;
	  static uint8_t FIFOFulled = 0;
	  uint8_t state = 0;

	  xResult = xTaskNotifyWait( pdFALSE,    /* Don't clear bits on entry. */
			  ULONG_MAX,        /* Clear all bits on exit. */
			  &ulNotifiedValue, /* Stores the notified value. */
			  portMAX_DELAY );

	  if( xResult == pdPASS )
	  {
		  if (BitCheckW(ulNotifiedValue, AC1_Notify_NewDataAvaiable_Bit) == 1 )
		  {
			  IIM42652_GetFIFOData_DMA(&IMU);
			  osTimerStart(SPIReadTimoutTimerHandle, SPI_READ_TIMEOUT_MS);

			  if (IMU.m_FIFO_Count >= 127)
			  {
				  RGB_SetActColor(&RGB, RGB.rgbRED, ENABLE);
				  FIFOFulled++;
			  }
			  else
			  {
				  if (FIFOFulled)
				  {
					  RGB_SetActColor(&RGB, RGB.rgbCYAN, ENABLE);
					  FIFOFulled = 0;
				  }
			  }
		  }
	  }
    osDelay(1);
  }
  /* USER CODE END StartImuTask */
}

/* BlinkTimerCallback function */
void BlinkTimerCallback(void const * argument)
{
  /* USER CODE BEGIN BlinkTimerCallback */
	RGB_Blink(&RGB);
  /* USER CODE END BlinkTimerCallback */
}

/* DOTimerCallback function */
void DOTimerCallback(void const * argument)
{
  /* USER CODE BEGIN DOTimerCallback */
	HAL_GPIO_WritePin(DO1_GPIO_Port, DO1_Pin, GPIO_PIN_RESET);
	IMU.m_INT2State = 0;
  /* USER CODE END DOTimerCallback */
}

/* SPIReadTimoutTimerCallback function */
void SPIReadTimoutTimerCallback(void const * argument)
{
  /* USER CODE BEGIN SPIReadTimoutTimerCallback */
	if (AC1_StatusWord.IMUAnalysisON)
	{
		RGB_SetActColor(&RGB, RGB.rgbVIOLET, ENABLE);
		IIM42652_GetFIFOData_DMA(&IMU);
		osTimerStart(SPIReadTimoutTimerHandle, SPI_READ_TIMEOUT_MS);
	}
  /* USER CODE END SPIReadTimoutTimerCallback */
}

void HAL_TIM_PeriodElapsedCallback(TIM_HandleTypeDef *htim)
{
  if (htim->Instance == TIM10) {
    HAL_IncTick();
  }
}

void Error_Handler(void)
{
  __disable_irq();
  while (1)
  {
  }
}

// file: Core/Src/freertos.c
/* USER CODE BEGIN Header */
/**
  ******************************************************************************
  * File Name          : freertos.c
  * Description        : Code for freertos applications
  ******************************************************************************
  * @attention
  *
  * Copyright (c) 2022 STMicroelectronics.
  * All rights reserved.
  *
  * This software is licensed under terms that can be found in the LICENSE file
  * in the root directory of this software component.
  * If no LICENSE file comes with this software, it is provided AS-IS.
  *
  ******************************************************************************
  */
/* USER CODE END Header */

#include "FreeRTOS.h"
#include "task.h"
#include "main.h"

/* GetIdleTaskMemory prototype (linked to static allocation support) */
void vApplicationGetIdleTaskMemory( StaticTask_t **ppxIdleTaskTCBBuffer, StackType_t **ppxIdleTaskStackBuffer, uint32_t *pulIdleTaskStackSize );

/* GetTimerTaskMemory prototype (linked to static allocation support) */
void vApplicationGetTimerTaskMemory( StaticTask_t **ppxTimerTaskTCBBuffer, StackType_t **ppxTimerTaskStackBuffer, uint32_t *pulTimerTaskStackSize );

/* Hook prototypes */
void configureTimerForRunTimeStats(void);
unsigned long getRunTimeCounterValue(void);

/* USER CODE BEGIN 1 */
/* Functions needed when configGENERATE_RUN_TIME_STATS is on */
__weak void configureTimerForRunTimeStats(void)
{

}

__weak unsigned long getRunTimeCounterValue(void)
{
return 0;
}
/* USER CODE END 1 */

/* USER CODE BEGIN GET_IDLE_TASK_MEMORY */
static StaticTask_t xIdleTaskTCBBuffer;
static StackType_t xIdleStack[configMINIMAL_STACK_SIZE];

void vApplicationGetIdleTaskMemory( StaticTask_t **ppxIdleTaskTCBBuffer, StackType_t **ppxIdleTaskStackBuffer, uint32_t *pulIdleTaskStackSize )
{
  *ppxIdleTaskTCBBuffer = &xIdleTaskTCBBuffer;
  *ppxIdleTaskStackBuffer = &xIdleStack[0];
  *pulIdleTaskStackSize = configMINIMAL_STACK_SIZE;
  /* place for user code */
}
/* USER CODE END GET_IDLE_TASK_MEMORY */

/* USER CODE BEGIN GET_TIMER_TASK_MEMORY */
static StaticTask_t xTimerTaskTCBBuffer;
static StackType_t xTimerStack[configTIMER_TASK_STACK_DEPTH];

void vApplicationGetTimerTaskMemory( StaticTask_t **ppxTimerTaskTCBBuffer, StackType_t **ppxTimerTaskStackBuffer, uint32_t *pulTimerTaskStackSize )
{
  *ppxTimerTaskTCBBuffer = &xTimerTaskTCBBuffer;
  *ppxTimerTaskStackBuffer = &xTimerStack[0];
  *pulTimerTaskStackSize = configTIMER_TASK_STACK_DEPTH;
  /* place for user code */
}
/* USER CODE END GET_TIMER_TASK_MEMORY */
